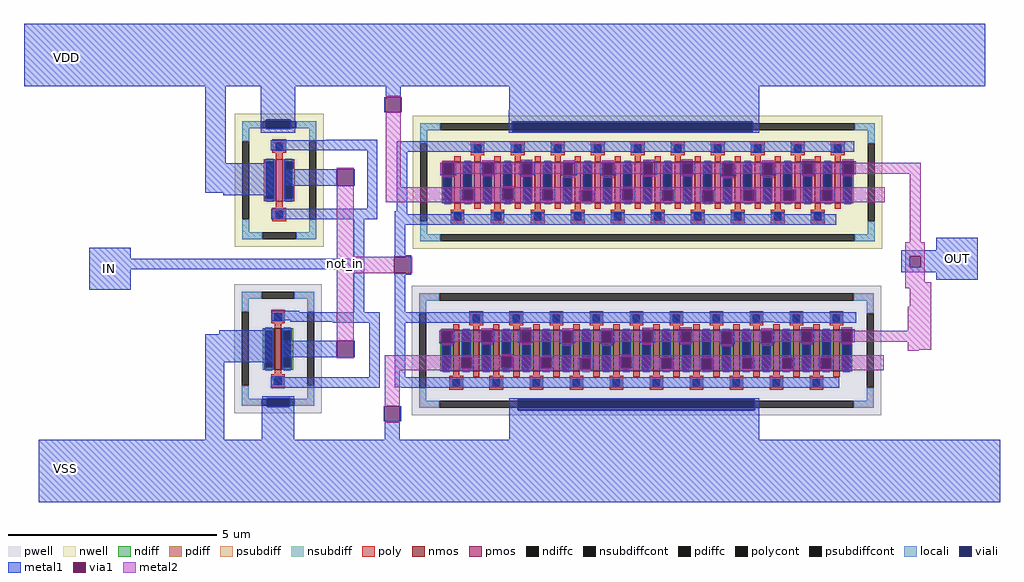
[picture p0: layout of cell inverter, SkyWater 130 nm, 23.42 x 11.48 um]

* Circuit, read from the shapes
.subckt inverter VDD VSS OUT IN
XM1 not_in IN VSS VSS sky130_fd_pr__nfet_01v8 w=1 l=0.15
XM2 VSS not_in OUT VSS sky130_fd_pr__nfet_01v8 w=1 l=0.15 m=20
XM3 not_in IN VDD VDD sky130_fd_pr__pfet_01v8 w=1 l=0.17
XM4 VDD not_in OUT VDD sky130_fd_pr__pfet_01v8 w=1 l=0.15 m=20
.ends

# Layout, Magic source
magic
tech sky130A
magscale 1 2
<< viali >>
rect 924 964 1044 1008
rect 2108 950 3262 998
rect 930 -370 1040 -328
rect 2134 -386 3270 -334
<< metal1 >>
rect -236 1168 4378 1468
rect 634 798 732 1168
rect 900 1008 1066 1168
rect 1500 1116 1572 1168
rect 1494 1044 1500 1116
rect 1572 1044 1578 1116
rect 2092 1054 3292 1168
rect 900 964 924 1008
rect 1044 964 1066 1008
rect 900 946 1066 964
rect 2090 998 3292 1054
rect 2090 950 2108 998
rect 3262 950 3292 998
rect 2090 944 3292 950
rect 1211 910 1460 911
rect 948 861 1460 910
rect 948 860 1262 861
rect 634 656 962 798
rect 1014 690 1266 770
rect 1346 690 1352 770
rect 720 644 962 656
rect 1411 581 1460 861
rect 951 531 1460 581
rect 1554 855 3749 905
rect 1554 569 1604 855
rect 1762 742 1772 800
rect 1828 742 1838 800
rect 1954 746 1964 804
rect 2020 746 2030 804
rect 2140 744 2150 806
rect 2204 744 2214 806
rect 2342 740 2352 802
rect 2406 740 2416 802
rect 2530 740 2540 802
rect 2594 740 2604 802
rect 2726 744 2736 806
rect 2790 744 2800 806
rect 2910 746 2920 808
rect 2974 746 2984 808
rect 3106 736 3116 798
rect 3170 736 3180 798
rect 3298 740 3308 802
rect 3362 740 3372 802
rect 3490 746 3500 808
rect 3554 746 3564 808
rect 3682 746 3692 808
rect 3746 746 3756 808
rect 1858 620 1868 674
rect 1920 620 1930 674
rect 2050 624 2060 678
rect 2112 624 2122 678
rect 2240 620 2250 674
rect 2302 620 2312 674
rect 2428 616 2438 670
rect 2490 616 2500 670
rect 2624 622 2634 676
rect 2686 622 2696 676
rect 2818 618 2828 672
rect 2880 618 2890 672
rect 3010 614 3020 668
rect 3072 614 3082 668
rect 3206 618 3216 672
rect 3268 618 3278 672
rect 3398 618 3408 672
rect 3460 618 3470 672
rect 3582 618 3592 672
rect 3644 618 3654 672
rect 1543 553 1604 569
rect 76 341 276 392
rect 1347 341 1397 531
rect 1543 503 3663 553
rect 1543 356 1593 503
rect 4142 382 4342 440
rect 76 291 1397 341
rect 76 192 276 291
rect 952 84 1086 90
rect 1347 84 1397 291
rect 1542 350 1622 356
rect 3974 352 4342 382
rect 3974 300 4016 352
rect 4068 300 4342 352
rect 3974 276 4342 300
rect 1542 264 1622 270
rect 1543 84 1593 264
rect 4142 240 4342 276
rect 952 46 1472 84
rect 1042 38 1472 46
rect 1246 34 1472 38
rect 1543 36 3757 84
rect 1543 34 3292 36
rect 3366 34 3757 36
rect 702 -22 954 -2
rect 634 -156 954 -22
rect 1014 -132 1266 -52
rect 1346 -132 1352 -52
rect 634 -528 726 -156
rect 1421 -229 1471 34
rect 1543 -229 1593 34
rect 1756 -64 1766 -6
rect 1822 -64 1832 -6
rect 1948 -60 1958 -2
rect 2014 -60 2024 -2
rect 2134 -62 2144 0
rect 2198 -62 2208 0
rect 2336 -66 2346 -4
rect 2400 -66 2410 -4
rect 2524 -66 2534 -4
rect 2588 -66 2598 -4
rect 2720 -62 2730 0
rect 2784 -62 2794 0
rect 2904 -60 2914 2
rect 2968 -60 2978 2
rect 3100 -70 3110 -8
rect 3164 -70 3174 -8
rect 3292 -66 3302 -4
rect 3356 -66 3366 -4
rect 3484 -60 3494 2
rect 3548 -60 3558 2
rect 3676 -60 3686 2
rect 3740 -60 3750 2
rect 1852 -186 1862 -132
rect 1914 -186 1924 -132
rect 2044 -182 2054 -128
rect 2106 -182 2116 -128
rect 2234 -186 2244 -132
rect 2296 -186 2306 -132
rect 2422 -190 2432 -136
rect 2484 -190 2494 -136
rect 2618 -184 2628 -130
rect 2680 -184 2690 -130
rect 2812 -188 2822 -134
rect 2874 -188 2884 -134
rect 3004 -192 3014 -138
rect 3066 -192 3076 -138
rect 3200 -188 3210 -134
rect 3262 -188 3272 -134
rect 3392 -188 3402 -134
rect 3454 -188 3464 -134
rect 3576 -188 3586 -134
rect 3638 -188 3648 -134
rect 947 -279 1472 -229
rect 1543 -277 3677 -229
rect 1574 -279 3677 -277
rect 908 -328 1060 -320
rect 908 -334 930 -328
rect 906 -370 930 -334
rect 1040 -370 1060 -328
rect 2092 -334 3292 -328
rect 906 -528 1060 -370
rect 1490 -440 1496 -368
rect 1568 -440 1574 -368
rect 2092 -386 2134 -334
rect 3270 -386 3292 -334
rect 1496 -528 1568 -440
rect 2092 -528 3292 -386
rect -166 -828 4448 -528
<< via1 >>
rect 1500 1044 1572 1116
rect 1266 690 1346 770
rect 1772 742 1828 800
rect 1964 746 2020 804
rect 2150 744 2204 806
rect 2352 740 2406 802
rect 2540 740 2594 802
rect 2736 744 2790 806
rect 2920 746 2974 808
rect 3116 736 3170 798
rect 3308 740 3362 802
rect 3500 746 3554 808
rect 3692 746 3746 808
rect 1868 620 1920 674
rect 2060 624 2112 678
rect 2250 620 2302 674
rect 2438 616 2490 670
rect 2634 622 2686 676
rect 2828 618 2880 672
rect 3020 614 3072 668
rect 3216 618 3268 672
rect 3408 618 3460 672
rect 3592 618 3644 672
rect 1542 270 1622 350
rect 4016 300 4068 352
rect 1266 -132 1346 -52
rect 1766 -64 1822 -6
rect 1958 -60 2014 -2
rect 2144 -62 2198 0
rect 2346 -66 2400 -4
rect 2534 -66 2588 -4
rect 2730 -62 2784 0
rect 2914 -60 2968 2
rect 3110 -70 3164 -8
rect 3302 -66 3356 -4
rect 3494 -60 3548 2
rect 3686 -60 3740 2
rect 1862 -186 1914 -132
rect 2054 -182 2106 -128
rect 2244 -186 2296 -132
rect 2432 -190 2484 -136
rect 2628 -184 2680 -130
rect 2822 -188 2874 -134
rect 3014 -192 3066 -138
rect 3210 -188 3262 -134
rect 3402 -188 3454 -134
rect 3586 -188 3638 -134
rect 1496 -440 1568 -368
<< metal2 >>
rect 1500 1116 1572 1122
rect 1266 770 1346 776
rect 1266 350 1346 690
rect 1500 684 1572 1044
rect 1772 800 1828 810
rect 1964 804 2020 814
rect 1762 748 1772 800
rect 1828 748 1964 800
rect 1772 732 1828 742
rect 2150 806 2204 816
rect 2020 748 2150 800
rect 1964 736 2020 746
rect 2352 802 2406 812
rect 2204 748 2352 800
rect 2150 734 2204 744
rect 2540 802 2594 812
rect 2406 748 2540 800
rect 2352 730 2406 740
rect 2736 806 2790 816
rect 2594 748 2736 800
rect 2540 730 2594 740
rect 2920 808 2974 818
rect 2790 748 2920 800
rect 2736 734 2790 744
rect 3116 800 3170 808
rect 3308 802 3362 812
rect 2974 798 3308 800
rect 2974 748 3116 798
rect 2920 736 2974 746
rect 3170 748 3308 798
rect 3116 726 3170 736
rect 3500 808 3554 818
rect 3362 748 3500 800
rect 3308 730 3362 740
rect 3692 808 3746 818
rect 3554 748 3692 800
rect 3500 736 3554 746
rect 3746 748 4068 800
rect 3692 736 3746 746
rect 2060 684 2112 688
rect 2634 684 2686 686
rect 1500 678 3896 684
rect 1500 674 2060 678
rect 1500 620 1868 674
rect 1920 624 2060 674
rect 2112 676 3896 678
rect 2112 674 2634 676
rect 2112 624 2250 674
rect 1920 620 2250 624
rect 2302 670 2634 674
rect 2302 620 2438 670
rect 1500 616 2438 620
rect 2490 622 2634 670
rect 2686 672 3896 676
rect 2686 622 2828 672
rect 2490 618 2828 622
rect 2880 668 3216 672
rect 2880 618 3020 668
rect 2490 616 3020 618
rect 1500 614 3020 616
rect 3072 618 3216 668
rect 3268 618 3408 672
rect 3460 618 3592 672
rect 3644 618 3896 672
rect 3072 614 3896 618
rect 1500 612 3896 614
rect 1868 610 1920 612
rect 2250 610 2302 612
rect 2438 606 2490 612
rect 2828 608 2880 612
rect 3020 604 3072 612
rect 3216 608 3268 612
rect 3408 608 3460 612
rect 3592 608 3644 612
rect 4016 420 4068 748
rect 3994 352 4088 420
rect 1266 270 1542 350
rect 1622 270 1628 350
rect 3994 300 4016 352
rect 4068 300 4088 352
rect 1266 -52 1346 270
rect 3994 227 4088 300
rect 3994 200 4119 227
rect 4016 110 4119 200
rect 1766 -6 1822 4
rect 1958 -2 2014 8
rect 1756 -58 1766 -6
rect 1822 -58 1958 -6
rect 1766 -74 1822 -64
rect 2144 0 2198 10
rect 2014 -58 2144 -6
rect 1958 -70 2014 -60
rect 2346 -4 2400 6
rect 2198 -58 2346 -6
rect 2144 -72 2198 -62
rect 2534 -4 2588 6
rect 2400 -58 2534 -6
rect 2346 -76 2400 -66
rect 2730 0 2784 10
rect 2588 -58 2730 -6
rect 2534 -76 2588 -66
rect 2914 2 2968 12
rect 2784 -58 2914 -6
rect 2730 -72 2784 -62
rect 3110 -6 3164 2
rect 3302 -4 3356 6
rect 2968 -8 3302 -6
rect 2968 -58 3110 -8
rect 2914 -70 2968 -60
rect 3164 -58 3302 -8
rect 3110 -80 3164 -70
rect 3494 2 3548 12
rect 3356 -58 3494 -6
rect 3302 -76 3356 -66
rect 3686 2 3740 12
rect 3548 -58 3686 -6
rect 3494 -70 3548 -60
rect 4006 -6 4119 110
rect 3740 -58 4119 -6
rect 3686 -70 3740 -60
rect 4006 -97 4119 -58
rect 4006 -102 4058 -97
rect 2054 -122 2106 -118
rect 2628 -122 2680 -120
rect 1266 -138 1346 -132
rect 1496 -128 3890 -122
rect 1496 -132 2054 -128
rect 1496 -186 1862 -132
rect 1914 -182 2054 -132
rect 2106 -130 3890 -128
rect 2106 -132 2628 -130
rect 2106 -182 2244 -132
rect 1914 -186 2244 -182
rect 2296 -136 2628 -132
rect 2296 -186 2432 -136
rect 1496 -190 2432 -186
rect 2484 -184 2628 -136
rect 2680 -134 3890 -130
rect 2680 -184 2822 -134
rect 2484 -188 2822 -184
rect 2874 -138 3210 -134
rect 2874 -188 3014 -138
rect 2484 -190 3014 -188
rect 1496 -192 3014 -190
rect 3066 -188 3210 -138
rect 3262 -188 3402 -134
rect 3454 -188 3586 -134
rect 3638 -188 3890 -134
rect 3066 -192 3890 -188
rect 1496 -194 3890 -192
rect 1496 -368 1568 -194
rect 1862 -196 1914 -194
rect 2244 -196 2296 -194
rect 2432 -200 2484 -194
rect 2822 -198 2874 -194
rect 3014 -202 3066 -194
rect 3210 -198 3262 -194
rect 3402 -198 3454 -194
rect 3586 -198 3638 -194
rect 1496 -446 1568 -440
use sky130_fd_pr__pfet_01v8_8DVCWJ  sky130_fd_pr__pfet_01v8_8DVCWJ_0
transform 1 0 2757 0 1 707
box -1127 -319 1127 319
use sky130_fd_pr__nfet_01v8_YTLFGX  XM2
transform 1 0 2751 0 1 -100
box -1127 -310 1127 310
use sky130_fd_pr__pfet_01v8_XGS3MQ  XM3
transform 1 0 989 0 1 717
box -213 -319 213 319
use sky130_fd_pr__nfet_01v8_648S5X  XM4
transform 1 0 983 0 1 -92
box -211 -310 211 310
<< labels >>
flabel metal1 -138 -768 62 -568 0 FreeSans 256 0 0 0 VSS
port 1 nsew
flabel metal1 76 192 276 392 0 FreeSans 256 0 0 0 IN
port 3 nsew
flabel metal1 4142 240 4342 440 0 FreeSans 256 0 0 0 OUT
port 2 nsew
flabel metal1 -134 1208 66 1408 0 FreeSans 256 0 0 0 VDD
port 0 nsew
flabel metal2 1266 -52 1346 690 0 FreeSans 320 0 0 0 not_in
<< end >>

# cell sky130_fd_pr__pfet_01v8_8DVCWJ: kit device sky130_fd_pr__pfet_01v8, w 1.0 l 0.15 m 1 nf 20 diffcov 100 polycov 100 guard 1 glc 1 grc 1 gtc 1 gbc 1 tbcov 100 rlcov 100 topc 1 botc 1 poverlap 0 doverlap 1 lmin 0.15 wmin 0.42 compatible {sky130_fd_pr__pfet_01v8 sky130_fd_pr__pfet_01v8_lvt sky130_fd_pr__pfet_01v8_hvt sky130_fd_pr__pfet_g5v0d10v5} full_metal 1 viasrc 100 viadrn 100 viagate 100 viagb 0 viagr 0 viagl 0 viagt 0

# cell sky130_fd_pr__nfet_01v8_YTLFGX: kit device sky130_fd_pr__nfet_01v8, w 1.0 l 0.15 m 1 nf 20 diffcov 100 polycov 100 guard 1 glc 1 grc 1 gtc 1 gbc 1 tbcov 100 rlcov 100 topc 1 botc 1 poverlap 0 doverlap 1 lmin 0.15 wmin 0.42 compatible {sky130_fd_pr__nfet_01v8 sky130_fd_pr__nfet_01v8_lvt sky130_fd_bs_flash__special_sonosfet_star sky130_fd_pr__nfet_g5v0d10v5 sky130_fd_pr__nfet_05v0_nvt sky130_fd_pr__nfet_03v3_nvt} full_metal 1 viasrc 100 viadrn 100 viagate 100 viagb 0 viagr 0 viagl 0 viagt 0

# cell sky130_fd_pr__pfet_01v8_XGS3MQ: kit device sky130_fd_pr__pfet_01v8, w 1.0 l 0.17 m 1 nf 1 diffcov 100 polycov 100 guard 1 glc 1 grc 1 gtc 1 gbc 1 tbcov 100 rlcov 100 topc 1 botc 1 poverlap 0 doverlap 1 lmin 0.15 wmin 0.42 compatible {sky130_fd_pr__pfet_01v8 sky130_fd_pr__pfet_01v8_lvt sky130_fd_pr__pfet_01v8_hvt sky130_fd_pr__pfet_g5v0d10v5} full_metal 1 viasrc 100 viadrn 100 viagate 100 viagb 0 viagr 0 viagl 0 viagt 0

# cell sky130_fd_pr__nfet_01v8_648S5X: kit device sky130_fd_pr__nfet_01v8, w 1.0 l 0.15 m 1 nf 1 diffcov 100 polycov 100 guard 1 glc 1 grc 1 gtc 1 gbc 1 tbcov 100 rlcov 100 topc 1 botc 1 poverlap 0 doverlap 1 lmin 0.15 wmin 0.42 compatible {sky130_fd_pr__nfet_01v8 sky130_fd_pr__nfet_01v8_lvt sky130_fd_bs_flash__special_sonosfet_star sky130_fd_pr__nfet_g5v0d10v5 sky130_fd_pr__nfet_05v0_nvt sky130_fd_pr__nfet_03v3_nvt} full_metal 1 viasrc 100 viadrn 100 viagate 100 viagb 0 viagr 0 viagl 0 viagt 0
